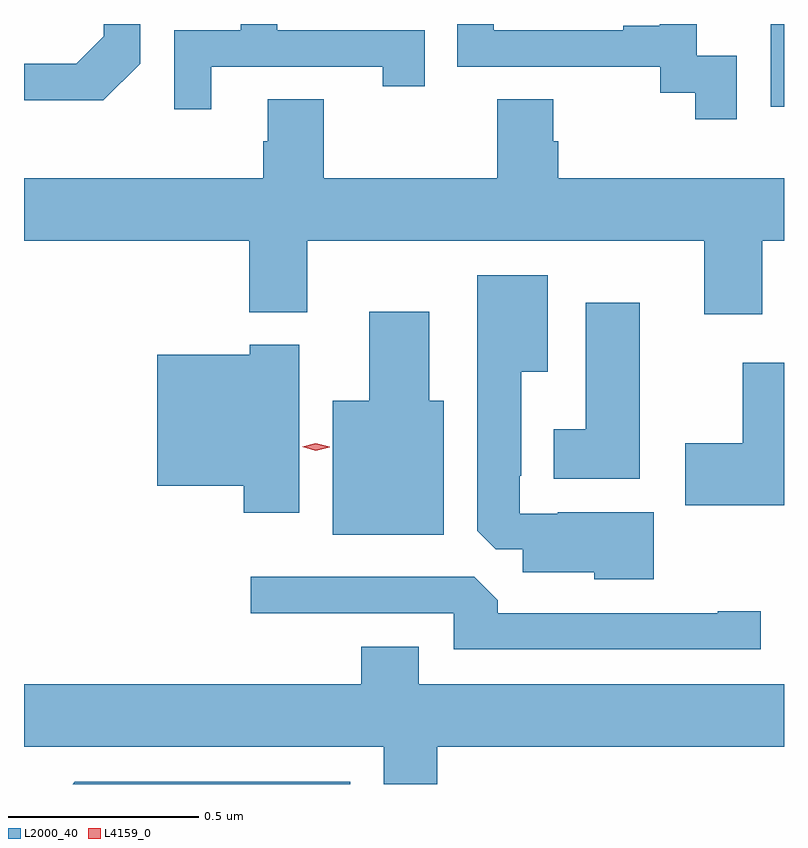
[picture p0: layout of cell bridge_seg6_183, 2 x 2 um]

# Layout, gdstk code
import gdstk
lib = gdstk.Library(unit=1e-6, precision=1e-09)
def R(c, l, rs):  # rectangles x0, y0, x1, y1
    for r in rs: c.add(gdstk.rectangle(r[:2], r[2:], *l))
def P(c, l, *ps):  # polygons
    for p in ps: c.add(gdstk.Polygon(p, *l))
L2000_40 = (2000, 40)
L4159_0 = (4159, 0)

bridge_seg6_183 = lib.new_cell('bridge_seg6_183')
R(bridge_seg6_183, L2000_40, [(162.075,983.652,162.11,983.87)])
P(bridge_seg6_183, L2000_40, [(160.603,983.757),(161.054,983.757),(161.054,983.706),(161.165,983.706),(161.165,983.853),(160.776,983.853),(160.776,983.87),(160.68,983.87),(160.68,983.853),(160.506,983.853),(160.506,983.646),(160.603,983.646)],
  [(161.985,983.787),(161.88,983.787),(161.88,983.87),(161.783,983.87),(161.783,983.866),(161.687,983.866),(161.687,983.853),(161.346,983.853),(161.346,983.87),(161.25,983.87),(161.25,983.757),(161.784,983.757),(161.784,983.689),(161.877,983.689),(161.877,983.619),(161.985,983.619)],
  [(160.416,983.766),(160.416,983.87),(160.32,983.87),(160.32,983.838),(160.248,983.766),(160.11,983.766),(160.11,983.669),(160.318,983.669)],
  [(162.053,983.3),(162.11,983.3),(162.11,983.464),(161.516,983.464),(161.516,983.562),(161.503,983.562),(161.503,983.672),(161.356,983.672),(161.356,983.464),(160.899,983.464),(160.899,983.672),(160.751,983.672),(160.751,983.562),(160.739,983.562),(160.739,983.464),(160.11,983.464),(160.11,983.3),(160.703,983.3),(160.703,983.111),(160.855,983.111),(160.855,983.3),(161.9,983.3),(161.9,983.106),(162.053,983.106)],
  [(161.767,982.585),(161.515,982.585),(161.515,982.581),(161.415,982.581),(161.415,982.681),(161.419,982.681),(161.419,982.955),(161.488,982.955),(161.488,983.209),(161.303,983.209),(161.303,982.537),(161.352,982.488),(161.423,982.488),(161.423,982.427),(161.61,982.427),(161.61,982.409),(161.767,982.409)],
  [(161.731,983.137),(161.588,983.137),(161.588,982.804),(161.504,982.804),(161.504,982.673),(161.731,982.673)],
  [(161.215,982.879),(161.176,982.879),(161.176,983.113),(161.018,983.113),(161.018,982.879),(160.922,982.879),(160.922,982.526),(161.215,982.526)],
  [(160.834,983.026),(160.704,983.026),(160.704,982.999),(160.46,982.999),(160.46,982.655),(160.688,982.655),(160.688,982.584),(160.834,982.584)],
  [(162.11,982.978),(162.002,982.978),(162.002,982.767),(161.85,982.767),(161.85,982.604),(162.11,982.604)],
  [(162.049,982.325),(161.936,982.325),(161.936,982.32),(161.357,982.32),(161.357,982.354),(161.295,982.416),(160.707,982.416),(160.707,982.32),(161.241,982.32),(161.241,982.224),(162.049,982.224)],
  [(161.197,981.968),(162.11,981.968),(162.11,982.132),(161.149,982.132),(161.149,982.231),(160.997,982.231),(160.997,982.132),(160.11,982.132),(160.11,981.968),(161.057,981.968),(161.057,981.87),(161.197,981.87)],
  [(160.968,981.876),(160.244,981.876),(160.238,981.87),(160.968,981.87)])
P(bridge_seg6_183, L4159_0, [(160.878,982.747),(160.842,982.758),(160.841,982.758),(160.842,982.758),(160.878,982.767),(160.914,982.757),(160.914,982.757),(160.914,982.756)])

lib.write_gds('bridge_seg6_183.gds')
